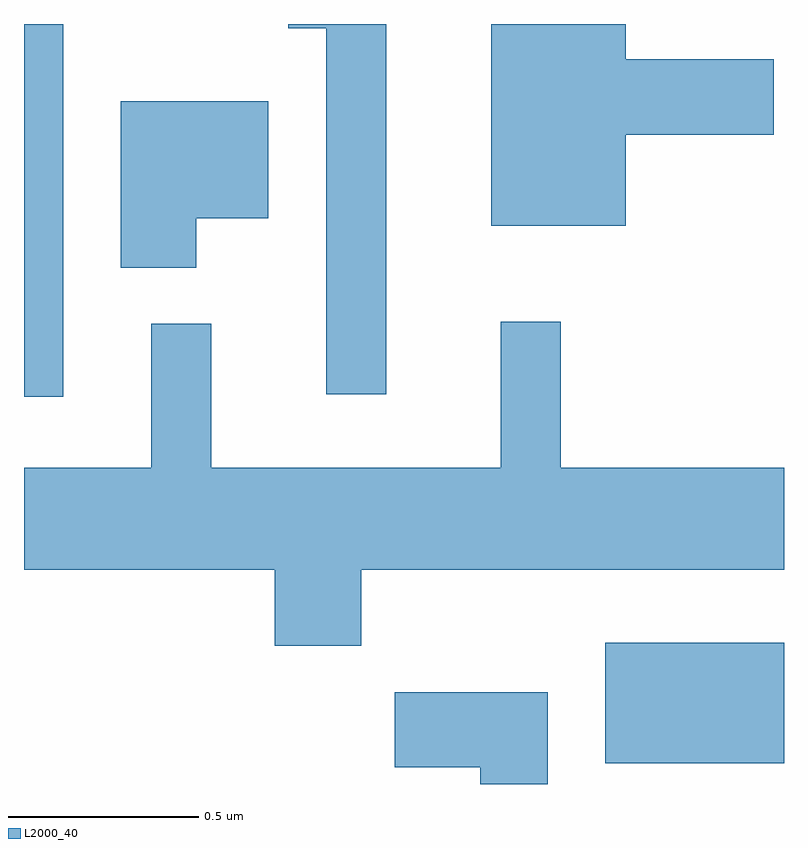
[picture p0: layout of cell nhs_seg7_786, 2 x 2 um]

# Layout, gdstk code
import gdstk
lib = gdstk.Library(unit=1e-6, precision=1e-09)
def R(c, l, rs):  # rectangles x0, y0, x1, y1
    for r in rs: c.add(gdstk.rectangle(r[:2], r[2:], *l))
def P(c, l, *ps):  # polygons
    for p in ps: c.add(gdstk.Polygon(p, *l))
L2000_40 = (2000, 40)

nhs_seg7_786 = lib.new_cell('nhs_seg7_786')
R(nhs_seg7_786, L2000_40, [(192.141,1769.306,192.611,1769.624), (190.611,1770.271,190.714,1771.252)])
P(nhs_seg7_786, L2000_40, [(191.564,1771.252),(191.306,1771.252),(191.306,1771.241),(191.406,1771.241),(191.406,1770.278),(191.564,1770.278)],
  [(192.194,1770.961),(192.584,1770.961),(192.584,1771.159),(192.194,1771.159),(192.194,1771.252),(191.841,1771.252),(191.841,1770.721),(192.194,1770.721)],
  [(191.064,1770.741),(191.254,1770.741),(191.254,1771.049),(190.866,1771.049),(190.866,1770.611),(191.064,1770.611)],
  [(191.499,1769.816),(192.611,1769.816),(192.611,1770.084),(192.024,1770.084),(192.024,1770.468),(191.866,1770.468),(191.866,1770.084),(191.104,1770.084),(191.104,1770.463),(190.946,1770.463),(190.946,1770.084),(190.611,1770.084),(190.611,1769.816),(191.271,1769.816),(191.271,1769.616),(191.499,1769.616)],
  [(191.989,1769.494),(191.586,1769.494),(191.586,1769.296),(191.811,1769.296),(191.811,1769.252),(191.989,1769.252)])

lib.write_gds('nhs_seg7_786.gds')
